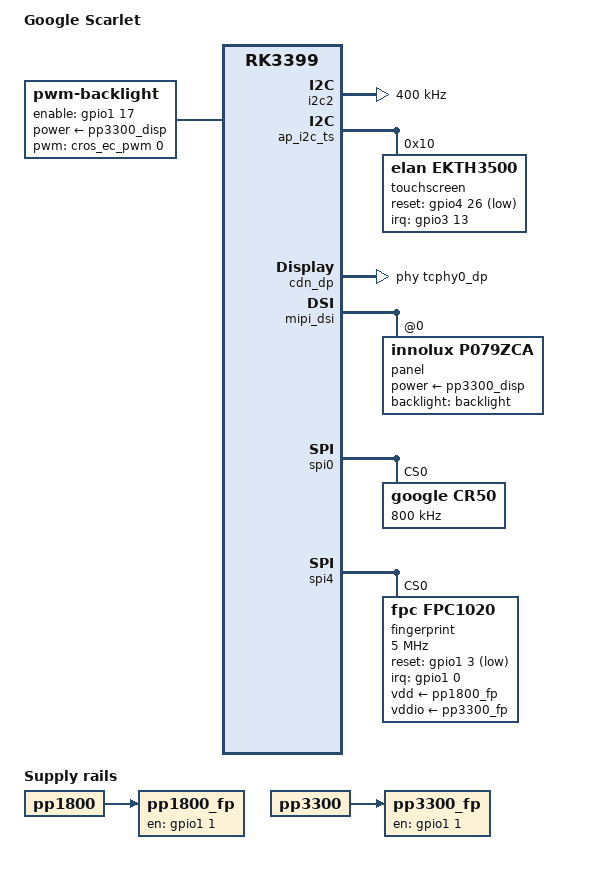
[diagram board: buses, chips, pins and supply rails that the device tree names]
/*
 * Google Gru-Scarlet board device tree source
 *
 * Copyright 2017 Google, Inc
 *
 * This file is dual-licensed: you can use it either under the terms
 * of the GPL or the X11 license, at your option. Note that this dual
 * licensing only applies to this file, and not this project as a
 * whole.
 *
 *  a) This file is free software; you can redistribute it and/or
 *     modify it under the terms of the GNU General Public License as
 *     published by the Free Software Foundation; either version 2 of the
 *     License, or (at your option) any later version.
 *
 *     This file is distributed in the hope that it will be useful,
 *     but WITHOUT ANY WARRANTY; without even the implied warranty of
 *     MERCHANTABILITY or FITNESS FOR A PARTICULAR PURPOSE.  See the
 *     GNU General Public License for more details.
 *
 *  Or, alternatively,
 *
 *  b) Permission is hereby granted, free of charge, to any person
 *     obtaining a copy of this software and associated documentation
 *     files (the "Software"), to deal in the Software without
 *     restriction, including without limitation the rights to use,
 *     copy, modify, merge, publish, distribute, sublicense, and/or
 *     sell copies of the Software, and to permit persons to whom the
 *     Software is furnished to do so, subject to the following
 *     conditions:
 *
 *     The above copyright notice and this permission notice shall be
 *     included in all copies or substantial portions of the Software.
 *
 *     THE SOFTWARE IS PROVIDED "AS IS", WITHOUT WARRANTY OF ANY KIND,
 *     EXPRESS OR IMPLIED, INCLUDING BUT NOT LIMITED TO THE WARRANTIES
 *     OF MERCHANTABILITY, FITNESS FOR A PARTICULAR PURPOSE AND
 *     NONINFRINGEMENT. IN NO EVENT SHALL THE AUTHORS OR COPYRIGHT
 *     HOLDERS BE LIABLE FOR ANY CLAIM, DAMAGES OR OTHER LIABILITY,
 *     WHETHER IN AN ACTION OF CONTRACT, TORT OR OTHERWISE, ARISING
 *     FROM, OUT OF OR IN CONNECTION WITH THE SOFTWARE OR THE USE OR
 *     OTHER DEALINGS IN THE SOFTWARE.
 */

/dts-v1/;

#include "rk3399-gru.dtsi"

/ {
	model = "Google Scarlet";
	compatible = "google,scarlet-rev15", "google,scarlet-rev14",
		     "google,scarlet-rev13", "google,scarlet-rev12",
		     "google,scarlet-rev11", "google,scarlet-rev10",
		     "google,scarlet-rev9", "google,scarlet-rev8",
		     "google,scarlet-rev7", "google,scarlet-rev6",
		     "google,scarlet-rev5", "google,scarlet-rev4",
		     "google,scarlet-rev3", "google,scarlet-rev2",
		     "google,scarlet-rev1", "google,scarlet-rev0",
		     "google,scarlet", "google,gru", "rockchip,rk3399";

	// TODO: Model:
	// - pp1200_mipi_cam
	// - pp1800_mipi_cam
	// - pp2800_mipi_cam

	/* pp1800 children */

	pp1800_fp: pp1800-fp {
		compatible = "regulator-fixed";
		regulator-name = "pp1800_fp";
		pinctrl-names = "default";
		pinctrl-0 = <&fp_en>;

		enable-active-high;
		gpio = <&gpio1 1 GPIO_ACTIVE_HIGH>;

		vin-supply = <&pp1800>;
	};

	/* pp3300 children */

	pp3300_fp: pp3300-fp {
		compatible = "regulator-fixed";
		regulator-name = "pp3300_fp";
		/* NOTE: fp_en pinctrl in pp1800_fp */

		enable-active-high;
		gpio = <&gpio1 1 GPIO_ACTIVE_HIGH>;

		vin-supply = <&pp3300>;
	};

	backlight: backlight {
		compatible = "pwm-backlight";
		pwms = <&cros_ec_pwm 0>;
		brightness-levels-scale = <0x10000>;
		default-brightness-level = <0x828f>; /* arbitrary, ~51% */
		enable-gpios = <&gpio1 17 GPIO_ACTIVE_HIGH>;
		power-supply = <&pp3300_disp>;
		pinctrl-names = "default";
		pinctrl-0 = <&bl_en>;
		pwm-delay-us = <10000>;
	};

};

ap_i2c_cam: &i2c2 {
	status = "okay";

	clock-frequency = <400000>;

	/* These are relatively safe rise/fall times; TODO: measure */
	i2c-scl-falling-time-ns = <50>;
	i2c-scl-rising-time-ns = <300>;

	// TODO: add MIPI camera node
};

&ap_i2c_tp {
	status = "disabled";
};

&ap_i2c_ts {
	touchscreen: touchscreen@10 {
		compatible = "elan,ekth3500";
		reg = <0x10>;

		pinctrl-names = "default";
		pinctrl-0 = <&touch_int_l &touch_reset_l>;

		interrupt-parent = <&gpio3>;
		interrupts = <13 IRQ_TYPE_EDGE_FALLING>;

		reset-gpios = <&gpio4 26 GPIO_ACTIVE_LOW>;
	};
};

&cdn_dp {
	extcon = <&usbc_extcon0>;
	phys = <&tcphy0_dp>;
};

&mipi_dsi {
	status = "okay";
	panel {
		compatible = "innolux,p079zca";
		reg = <0>;
		backlight = <&backlight>;
		power-supply = <&pp3300_disp>;
		status = "okay";
	};
};

&spi0 {
	status = "okay";

	cr50@0 {
		compatible = "google,cr50";
		reg = <0>;
		spi-max-frequency = <800000>; // TODO: review later
	};
};

&spi4 {
	status = "okay";

	fingerprint@0 {
		compatible = "fpc,fpc1020";
		reg = <0>;
		spi-max-frequency = <5000000>;

		pinctrl-names = "default";
		pinctrl-0 = <&fp_int &fp_reset_delayed_l>;
		reset-gpios = <&gpio1 3 GPIO_ACTIVE_LOW>;

		interrupt-parent = <&gpio1>;
		interrupts = <0 IRQ_TYPE_LEVEL_LOW>;

		vdd-supply = <&pp1800_fp>;
		vddio-supply = <&pp3300_fp>;
	};
};

&tcphy1 {
	status = "disabled";
};

&usbc_extcon1 {
	status = "disabled";
};

&usbdrd3_1 {
	status = "disabled";
};

&usbdrd_dwc3_1 {
	status = "disabled";
};

/* PINCTRL: always below everything else */

&pinctrl {
	fingerprint {
		fp_int: fp-int {
			rockchip,pins = <RK_GPIO1 0 RK_FUNC_GPIO
					 &pcfg_pull_up>;
		};

		fp_en: fp-en {
			rockchip,pins = <RK_GPIO1 1 RK_FUNC_GPIO
					 &pcfg_pull_none>;
		};

		fp_reset_delayed_l: fp-reset-delayed-l {
			rockchip,pins = <RK_GPIO1 3 RK_FUNC_GPIO
					 &pcfg_pull_down>;
		};
	};

	wifi {
		wlan_host_wake_l: wlan-host-wake-l {
			rockchip,pins = <0 8 RK_FUNC_GPIO &pcfg_pull_up>;
		};
	};
};

/* DON'T PUT ANYTHING BELOW HERE.  PUT IT ABOVE PINCTRL */
/* DON'T PUT ANYTHING BELOW HERE.  PUT IT ABOVE PINCTRL */
/* DON'T PUT ANYTHING BELOW HERE.  PUT IT ABOVE PINCTRL */
